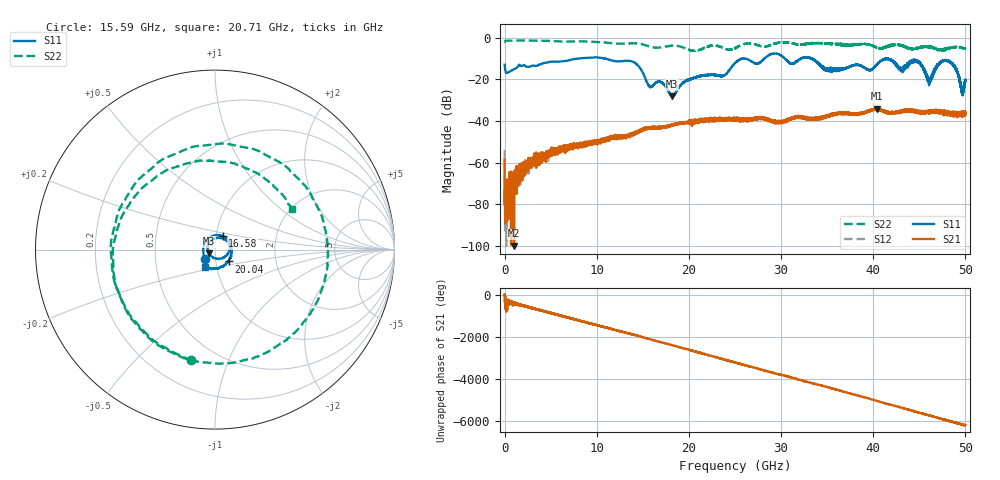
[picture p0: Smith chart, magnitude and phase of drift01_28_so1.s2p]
!Created with skrf (http://scikit-rf.org).
# Hz S RI R 50.0
!freq ReS11 ImS11 ReS21 ImS21 ReS12 ImS12 ReS22 ImS22
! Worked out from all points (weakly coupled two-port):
!   10001 points, 300 kHz to 50 GHz, reference 50 ohm
!   highest |S21| = -34.13 dB at 40.42 GHz (marker M1); lowest = -99.8 dB at 1.025 GHz (marker M2)
!   lowest |S11| = -28.1 dB at 18.16 GHz (marker M3), VSWR 1.08, Z = 46.8 - j2.01 ohm
!   |S11| at or under -10 dB: start of sweep to 8.053 GHz; 10.89 GHz to 25.98 GHz (15.09 GHz wide, 81.9 % of centre); 33.28 GHz to end of sweep (the widest 3 of 12)
!   |S22| runs from -6.5 to -1.4 dB; largest |S21 - S12| = 0.0042
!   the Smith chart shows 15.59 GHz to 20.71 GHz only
!   S11 on the Smith chart (normalised r, x): 15.59 GHz: 0.89, -0.09; 16.58 GHz: 1.08, +0.16; 20.04 GHz: 1.15, -0.15; 20.71 GHz: 0.88, -0.17
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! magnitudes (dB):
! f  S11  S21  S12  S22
! 300 kHz  -13.0  -58.6  -53.8  -2.1
! 255.3 MHz  -16.9  -76.0  -69.3  -1.4
! 1.025 GHz  -15.2  -99.8  -70.0  -1.5
! 3.04 GHz  -13.4  -58.4  -57.3  -1.4
! 8.335 GHz  -9.9  -51.3  -51.3  -1.8
! 13.88 GHz  -11.5  -46.1  -46.2  -2.7
! 15.59 GHz  -22.7  -43.5  -43.8  -4.0
! 16.58 GHz  -21.2  -43.1  -43.4  -4.8
! 16.67 GHz  -21.1  -42.8  -43.1  -4.8
! 18.16 GHz  -28.1  -42.1  -42.1  -3.9
! 20.04 GHz  -19.9  -40.3  -41.0  -5.9
! 20.71 GHz  -18.9  -39.9  -39.8  -6.3
! 25 GHz  -12.2  -39.7  -39.3  -5.1
! 33.34 GHz  -10.1  -38.8  -38.9  -2.7
! 35.23 GHz  -15.2  -37.4  -37.3  -2.9
! 40.42 GHz  -12.6  -34.1  -34.4  -4.9
! 41.67 GHz  -10.4  -35.6  -35.9  -4.1
! 44.81 GHz  -11.3  -34.9  -35.2  -4.9
! 46.08 GHz  -21.6  -35.9  -35.3  -4.3
! 48.04 GHz  -11.1  -36.6  -36.2  -5.2
! 49.63 GHz  -26.3  -36.3  -37.3  -4.8
! 50 GHz  -20.8  -36.8  -37.6  -5.4
